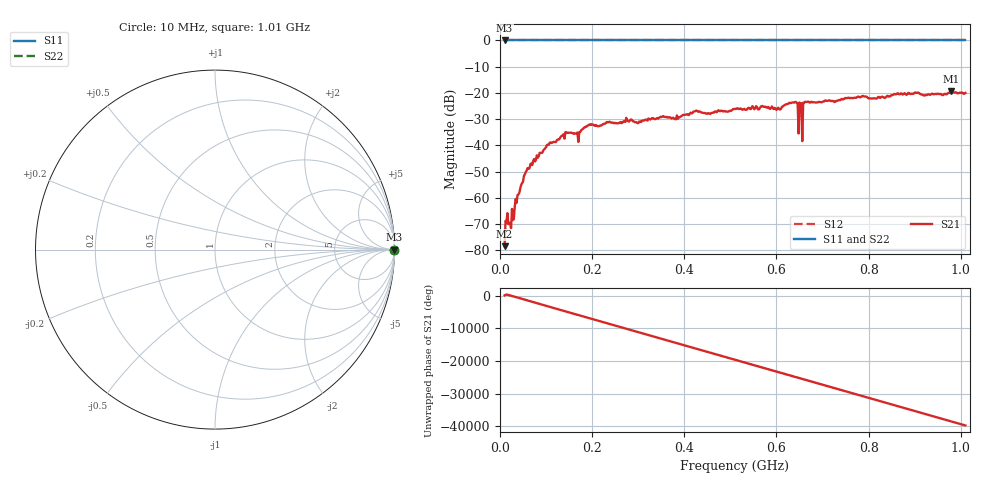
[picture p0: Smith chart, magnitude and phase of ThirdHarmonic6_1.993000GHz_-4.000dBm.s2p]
! 8/16/2025 11:57:00 PM
! C:\ANRITSUVNA\TEMP\TEMP.S2P
! CHANNEL.1
! TR.MEASUREMENT
! RAW.DATA
! RF.CORRECTION.OFF
! AVERAGING.OFF
! IF.BANDWIDTH: 5KHZ
! SWEEPTYPE:  FREQ.SWEEP(Linear)
! Reference Plane Port Info
! PORT:  PORT1  PORT2
! DISTANCE:  0  m  0  m
! TIME:  0  s  0  s
! PHASE.OFFSET:  0  deg.  0  deg.
! LOSS:  0  dB  0  dB
! REF.LOSS:  0  dB  0  dB
! REF.FREQ:  0  Hz  0  Hz
! Power Info
! POWER:  -20  dBm  -20  dBm
! EFF.POWER:  -20  dBm  -20  dBm
! SOURCE.ATTEN:  0  dB  0  dB
! TEST.ATTEN:  0  dB  0  dB
# GHZ S RI R 50.0
! FREQ.GHZ  S11RE  S11IM  S21RE  S21IM  S12RE  S12IM  S22RE  S22IM
!; PortSelection: Port_12
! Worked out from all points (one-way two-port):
!   501 points, 10 MHz to 1.01 GHz, reference 50 ohm
!   highest |S21| = -19.45 dB at 978 MHz (marker M1); lowest = -78.5 dB at 10 MHz (marker M2)
!   lowest |S11| = 0.0 dB at 10 MHz (marker M3)
!   |S11| at or under -10 dB: nowhere
!   |S22| runs from 0.0 to 0.0 dB; largest |S21 - S12| = 1.1
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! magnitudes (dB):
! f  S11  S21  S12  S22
! 10 MHz  0.0  -78.5  0.0  0.0
! 16 MHz  0.0  -65.9  0.0  0.0
! 26 MHz  0.0  -64.3  0.0  0.0
! 36 MHz  0.0  -62.0  0.0  0.0
! 56 MHz  0.0  -50.1  0.0  0.0
! 70 MHz  0.0  -47.5  0.0  0.0
! 106 MHz  0.0  -39.7  0.0  0.0
! 178 MHz  0.0  -34.0  0.0  0.0
! 196 MHz  0.0  -31.9  0.0  0.0
! 344 MHz  0.0  -29.7  0.0  0.0
! 510 MHz  0.0  -26.1  0.0  0.0
! 604 MHz  0.0  -25.7  0.0  0.0
! 640 MHz  0.0  -23.5  0.0  0.0
! 650 MHz  0.0  -23.7  0.0  0.0
! 652 MHz  0.0  -24.0  0.0  0.0
! 654 MHz  0.0  -24.0  0.0  0.0
! 660 MHz  0.0  -23.8  0.0  0.0
! 662 MHz  0.0  -23.4  0.0  0.0
! 678 MHz  0.0  -23.5  0.0  0.0
! 844 MHz  0.0  -21.5  0.0  0.0
! 978 MHz  0.0  -19.4  0.0  0.0
! 1.01 GHz  0.0  -20.0  0.0  0.0
